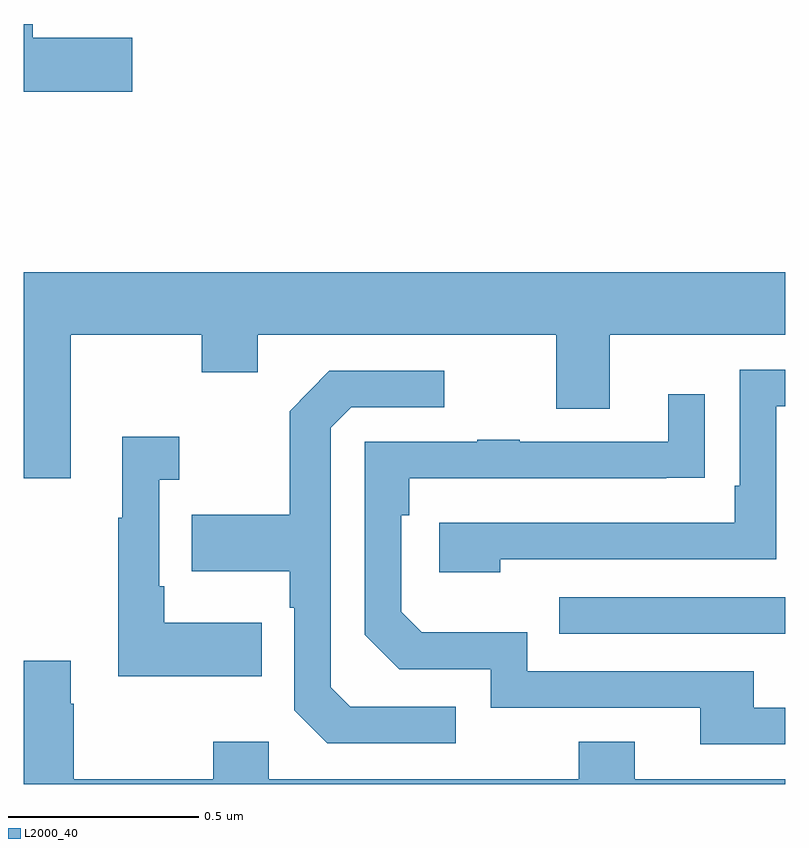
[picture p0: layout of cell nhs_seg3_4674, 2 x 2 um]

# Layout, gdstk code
import gdstk
lib = gdstk.Library(unit=1e-6, precision=1e-09)
def R(c, l, rs):  # rectangles x0, y0, x1, y1
    for r in rs: c.add(gdstk.rectangle(r[:2], r[2:], *l))
def P(c, l, *ps):  # polygons
    for p in ps: c.add(gdstk.Polygon(p, *l))
L2000_40 = (2000, 40)

nhs_seg3_4674 = lib.new_cell('nhs_seg3_4674')
R(nhs_seg3_4674, L2000_40, [(170.407,702.795,171,702.891)])
P(nhs_seg3_4674, L2000_40, [(169.285,704.36),(169.024,704.36),(169.024,704.396),(169,704.396),(169,704.218),(169.285,704.218)],
  [(169.123,703.58),(169.468,703.58),(169.468,703.481),(169.615,703.481),(169.615,703.58),(170.399,703.58),(170.399,703.386),(170.539,703.386),(170.539,703.58),(171,703.58),(171,703.744),(169,703.744),(169,703.203),(169.123,703.203)],
  [(170.252,702.99),(170.976,702.99),(170.976,703.392),(171,703.392),(171,703.488),(170.88,703.488),(170.88,703.183),(170.867,703.183),(170.867,703.086),(170.091,703.086),(170.091,702.956),(170.252,702.956)],
  [(170.134,702.603),(169.857,702.603),(169.806,702.654),(169.806,703.335),(169.86,703.389),(170.104,703.389),(170.104,703.485),(169.803,703.485),(169.698,703.379),(169.698,703.107),(169.441,703.107),(169.441,702.959),(169.698,702.959),(169.698,702.863),(169.71,702.863),(169.71,702.594),(169.797,702.507),(170.134,702.507)],
  [(171,702.6),(170.917,702.6),(170.917,702.696),(170.322,702.696),(170.322,702.799),(170.045,702.799),(169.992,702.852),(169.992,703.106),(170.012,703.106),(170.012,703.203),(170.687,703.203),(170.687,703.204),(170.789,703.204),(170.789,703.423),(170.693,703.423),(170.693,703.299),(170.303,703.299),(170.303,703.304),(170.191,703.304),(170.191,703.299),(169.896,703.299),(169.896,702.792),(169.986,702.702),(170.226,702.702),(170.226,702.6),(170.777,702.6),(170.777,702.504),(171,702.504)],
  [(169.625,702.823),(169.369,702.823),(169.369,702.919),(169.356,702.919),(169.356,703.199),(169.408,703.199),(169.408,703.312),(169.259,703.312),(169.259,703.099),(169.248,703.099),(169.248,702.683),(169.625,702.683)],
  [(171,702.412),(170.605,702.412),(170.605,702.511),(170.458,702.511),(170.458,702.412),(169.644,702.412),(169.644,702.511),(169.498,702.511),(169.498,702.412),(169.131,702.412),(169.131,702.611),(169.123,702.611),(169.123,702.724),(169,702.724),(169,702.4),(171,702.4)])

lib.write_gds('nhs_seg3_4674.gds')
